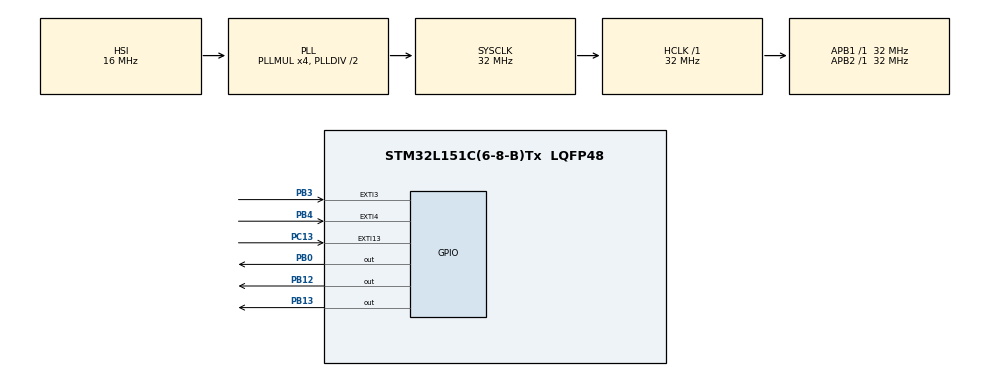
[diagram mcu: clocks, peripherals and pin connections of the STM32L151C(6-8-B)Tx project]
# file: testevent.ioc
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Mcu.Family=STM32L1
Mcu.Name=STM32L151C(6-8-B)Tx
Mcu.Package=LQFP48
NVIC.EXTI15_10_IRQn=true\:0\:0\:false\:false\:true\:true\:true\:true
NVIC.EXTI3_IRQn=true\:0\:0\:false\:false\:true\:true\:true\:true
NVIC.EXTI4_IRQn=true\:0\:0\:false\:false\:true\:true\:true\:true
NVIC.PriorityGroup=NVIC_PRIORITYGROUP_4
PA13.Mode=Serial_Wire
PA13.Signal=SYS_JTMS-SWDIO
PA14.Mode=Serial_Wire
PA14.Signal=SYS_JTCK-SWCLK
PB0.GPIO_PuPd=GPIO_NOPULL
PB0.GPIO_Speed=GPIO_SPEED_FREQ_LOW
PB0.Signal=GPIO_Output
PB12.GPIO_ModeDefaultOutputPP=GPIO_MODE_OUTPUT_OD
PB12.GPIO_PuPd=GPIO_PULLUP
PB12.Signal=GPIO_Output
PB13.GPIO_ModeDefaultOutputPP=GPIO_MODE_OUTPUT_OD
PB13.GPIO_PuPd=GPIO_PULLUP
PB13.PinState=GPIO_PIN_RESET
PB13.Signal=GPIO_Output
PB3.GPIO_ModeDefaultEXTI=GPIO_MODE_IT_FALLING
PB3.GPIO_PuPd=GPIO_PULLUP
PB3.Signal=GPXTI3
PB4.GPIO_ModeDefaultEXTI=GPIO_MODE_IT_FALLING
PB4.GPIO_PuPd=GPIO_PULLUP
PB4.Signal=GPXTI4
PC13-WKUP2.GPIO_ModeDefaultEXTI=GPIO_MODE_IT_FALLING
PC13-WKUP2.GPIO_PuPd=GPIO_PULLUP
PC13-WKUP2.Signal=GPXTI13
ProjectManager.HeapSize=0x200
ProjectManager.StackSize=0x400
ProjectManager.TargetToolchain=STM32CubeIDE
RCC.48MHZClocksFreq_Value=32000000
RCC.AHBFreq_Value=32000000
RCC.APB1Freq_Value=32000000
RCC.APB1TimFreq_Value=32000000
RCC.APB2Freq_Value=32000000
RCC.APB2TimFreq_Value=32000000
RCC.HCLKFreq_Value=32000000
RCC.HSE_VALUE=24000000
RCC.HSI_VALUE=16000000
RCC.LSE_VALUE=32768
RCC.MSI_VALUE=2097000
RCC.PLLMUL=RCC_PLL_MUL4
RCC.SYSCLKFreq_VALUE=32000000
RCC.SYSCLKSource=RCC_SYSCLKSOURCE_PLLCLK
RCC.VCOOutputFreq_Value=64000000
board=custom

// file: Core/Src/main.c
/* USER CODE BEGIN Header */
/**
  ******************************************************************************
  * @file           : main.c
  * @brief          : Main program body
  ******************************************************************************
  * @attention
  *
  * Copyright (c) 2025 STMicroelectronics.
  * All rights reserved.
  *
  * This software is licensed under terms that can be found in the LICENSE file
  * in the root directory of this software component.
  * If no LICENSE file comes with this software, it is provided AS-IS.
  *
  ******************************************************************************
  */
/* USER CODE END Header */
#include "main.h"

/* USER CODE BEGIN Includes */
#include "ssd1306.h"
#include "ssd1306_fonts.h"
#include "soft_i2c.h"
#include <stdlib.h>
#include <stdio.h>
#include <string.h>
#include <stdbool.h>
/* USER CODE END Includes */

/* USER CODE BEGIN PTD */
typedef enum {
    GAME_STATE_SPLASH,
    GAME_STATE_MENU,
    GAME_STATE_PLAYING,
    GAME_STATE_OVER
} GameState_t;

typedef enum {
    DIFFICULTY_EASY,
    DIFFICULTY_NORMAL,
    DIFFICULTY_HARD
} Difficulty_t;

typedef struct {
	int16_t x, y;
	int16_t w, h;
	int16_t frame;
    const uint8_t *bitmap;
    const uint8_t *mask;
} Entity_t;

/* USER CODE END PTD */

/* USER CODE BEGIN PD */
#define HI_SCORE_EASY_ADDR   0x0800FC00
#define HI_SCORE_NORMAL_ADDR 0x0800FC02
#define HI_SCORE_HARD_ADDR   0x0800FC04
#define DEBOUNCE_TIME 100
#define PLAYER_SAFE_ZONE_WIDTH 32
#define SPAWN_NEW_LIVE_MIN_CYCLES 800
#define DAY_NIGHT_SWITCH_CYCLES 1000
#define INCREASE_FPS_EVERY_N_SCORE_POINTS 200
#define LIVES_START 3
#define LIVES_MAX 5
#define TARGET_FPS_START 25
#define TARGET_FPS_MAX 55
#define GROUND_Y 57
#define SSD1306_WIDTH 128
#define SSD1306_HEIGHT 64

#define SCREEN_WIDTH        128
#define CACTUS_RESPAWN_MIN  (SCREEN_WIDTH + 10)
#define CACTUS_RESPAWN_MAX  (SCREEN_WIDTH + 80)
#define SAFE_DISTANCE_MIN   60
#define SAFE_DISTANCE_MAX   120
#define BUZZER_DURATION 100
/* USER CODE END PD */

/* USER CODE BEGIN PV */
volatile uint8_t g_jump_flag = 0;
volatile uint8_t g_reset_flag = 0;
volatile uint8_t g_quit_flag = 0;

volatile uint32_t g_last_jump_tick = 0;
volatile uint32_t g_last_reset_tick = 0;
volatile uint32_t g_last_quit_tick = 0;

// Biến game
Entity_t g_player;
Entity_t g_cactus1;
Entity_t g_cactus2;
Entity_t g_heart;
GameState_t g_gameState;
Difficulty_t g_difficulty = DIFFICULTY_NORMAL;
int g_menu_cursor = 1;
bool g_menu_dirty = true;
int g_scroll_speed = 11;
int g_score = 0;
int g_hi_scores[3] = {0, 0, 0};
int g_lives = LIVES_START;
int g_heart_spawn_score = 300;
bool g_game_over = false;
bool g_night = false;
int g_target_fps = TARGET_FPS_START;
volatile int g_is_jumping = 0;
volatile int g_jump_velocity = 0;
const int g_gravity = 3;
const int g_jump_initial_velocity = 11;
volatile int g_ground_scroll = 0;
uint32_t g_last_heart_spawn = 0;
uint32_t g_cycle_count = 0;
bool cactus1_collided = false;
bool cactus2_collided = false;

uint32_t lastGameTick = 0;

Entity_t g_player_last;
Entity_t g_cactus1_last;
Entity_t g_cactus2_last;
Entity_t g_heart_last;
bool g_night_last = false;

bool g_buzzer_active = false;
uint32_t g_buzzer_start_tick = 0;

const uint8_t trex_up_1s_bitmap[] = {
    0x00, 0x00, 0x00, 0x00,
    0x00, 0x07, 0xfe, 0x00,
    0x00, 0x06, 0xff, 0x00,
    0x00, 0x0e, 0xff, 0x00,
    0x00, 0x0f, 0xff, 0x00,
    0x00, 0x0f, 0xff, 0x00,
    0x00, 0x0f, 0xff, 0x00,
    0x00, 0x0f, 0xff, 0x00,
    0x00, 0x0f, 0xc0, 0x00,
    0x00, 0x0f, 0xfc, 0x00,
    0x40, 0x0f, 0xc0, 0x00,
    0x40, 0x1f, 0x80, 0x00,
    0x40, 0x7f, 0x80, 0x00,
    0x60, 0xff, 0xe0, 0x00,
    0x71, 0xff, 0xa0, 0x00,
    0x7f, 0xff, 0x80, 0x00,
    0x7f, 0xff, 0x80, 0x00,
    0x7f, 0xff, 0x80, 0x00,
    0x3f, 0xff, 0x00, 0x00,
    0x1f, 0xff, 0x00, 0x00,
    0x0f, 0xfe, 0x00, 0x00,
    0x03, 0xfc, 0x00, 0x00,
    0x01, 0xdc, 0x00, 0x00,
    0x01, 0x8c, 0x00, 0x00,
    0x01, 0x8c, 0x00, 0x00,
    0x01, 0x0c, 0x00, 0x00,
    0x01, 0x8e, 0x00, 0x00
};

const uint8_t trex_up_1s_mask[] = {
    0x00, 0x00, 0x00, 0x00,
    0x00, 0x07, 0xfe, 0x00,
    0x00, 0x07, 0xff, 0x00,
    0x00, 0x0f, 0xff, 0x00,
    0x00, 0x0f, 0xff, 0x00,
    0x00, 0x0f, 0xff, 0x00,
    0x00, 0x0f, 0xff, 0x00,
    0x00, 0x0f, 0xff, 0x00,
    0x00, 0x0f, 0xc0, 0x00,
    0x00, 0x0f, 0xfc, 0x00,
    0x40, 0x0f, 0xc0, 0x00,
    0x40, 0x1f, 0x80, 0x00,
    0x40, 0x7f, 0x80, 0x00,
    0x60, 0xff, 0xe0, 0x00,
    0x71, 0xff, 0xa0, 0x00,
    0x7f, 0xff, 0x80, 0x00,
    0x7f, 0xff, 0x80, 0x00,
    0x7f, 0xff, 0x80, 0x00,
    0x3f, 0xff, 0x00, 0x00,
    0x1f, 0xff, 0x00, 0x00,
    0x0f, 0xfe, 0x00, 0x00,
    0x03, 0xfc, 0x00, 0x00,
    0x01, 0xdc, 0x00, 0x00,
    0x01, 0x8c, 0x00, 0x00,
    0x01, 0x8c, 0x00, 0x00,
    0x01, 0x0c, 0x00, 0x00,
    0x01, 0x8e, 0x00, 0x00
};

const uint8_t trex_up_2s_bitmap[] = {
    0x00, 0x00, 0x00, 0x00,
    0x00, 0x07, 0xfe, 0x00,
    0x00, 0x06, 0xff, 0x00,
    0x00, 0x0e, 0xff, 0x00,
    0x00, 0x0f, 0xff, 0x00,
    0x00, 0x0f, 0xff, 0x00,
    0x00, 0x0f, 0xff, 0x00,
    0x00, 0x0f, 0xff, 0x00,
    0x00, 0x0f, 0xc0, 0x00,
    0x00, 0x0f, 0xfc, 0x00,
    0x40, 0x0f, 0xc0, 0x00,
    0x40, 0x1f, 0x80, 0x00,
    0x40, 0x7f, 0x80, 0x00,
    0x60, 0xff, 0xe0, 0x00,
    0x71, 0xff, 0xa0, 0x00,
    0x7f, 0xff, 0x80, 0x00,
    0x7f, 0xff, 0x80, 0x00,
    0x7f, 0xff, 0x80, 0x00,
    0x3f, 0xff, 0x00, 0x00,
    0x1f, 0xff, 0x00, 0x00,
    0x0f, 0xfe, 0x00, 0x00,
    0x03, 0xfc, 0x00, 0x00,
    0x01, 0xfc, 0x00, 0x00,
    0x01, 0x8c, 0x00, 0x00,
    0x01, 0x8c, 0x00, 0x00,
    0x01, 0x0e, 0x00, 0x00,
    0x01, 0x86, 0x00, 0x00
};

const uint8_t trex_up_2s_mask[] = {
    0x00, 0x00, 0x00, 0x00,
    0x00, 0x07, 0xfe, 0x00,
    0x00, 0x07, 0xff, 0x00,
    0x00, 0x0f, 0xff, 0x00,
    0x00, 0x0f, 0xff, 0x00,
    0x00, 0x0f, 0xff, 0x00,
    0x00, 0x0f, 0xff, 0x00,
    0x00, 0x0f, 0xff, 0x00,
    0x00, 0x0f, 0xc0, 0x00,
    0x00, 0x0f, 0xfc, 0x00,
    0x40, 0x0f, 0xc0, 0x00,
    0x40, 0x1f, 0x80, 0x00,
    0x40, 0x7f, 0x80, 0x00,
    0x60, 0xff, 0xe0, 0x00,
    0x71, 0xff, 0xa0, 0x00,
    0x7f, 0xff, 0x80, 0x00,
    0x7f, 0xff, 0x80, 0x00,
    0x7f, 0xff, 0x80, 0x00,
    0x3f, 0xff, 0x00, 0x00,
    0x1f, 0xff, 0x00, 0x00,
    0x0f, 0xfe, 0x00, 0x00,
    0x03, 0xfc, 0x00, 0x00,
    0x01, 0xfc, 0x00, 0x00,
    0x01, 0x8c, 0x00, 0x00,
    0x01, 0x8c, 0x00, 0x00,
    0x01, 0x0e, 0x00, 0x00,
    0x01, 0x86, 0x00, 0x00
};

const uint8_t trex_up_3s_bitmap[] = {
    0x00, 0x00, 0x00, 0x00,
    0x00, 0x07, 0xfe, 0x00,
    0x00, 0x06, 0xff, 0x00,
    0x00, 0x0e, 0xff, 0x00,
    0x00, 0x0f, 0xff, 0x00,
    0x00, 0x0f, 0xff, 0x00,
    0x00, 0x0f, 0xff, 0x00,
    0x00, 0x0f, 0xff, 0x00,
    0x00, 0x0f, 0xc0, 0x00,
    0x00, 0x0f, 0xfc, 0x00,
    0x40, 0x0f, 0xc0, 0x00,
    0x40, 0x1f, 0x80, 0x00,
    0x40, 0x7f, 0x80, 0x00,
    0x60, 0xff, 0xe0, 0x00,
    0x71, 0xff, 0xa0, 0x00,
    0x7f, 0xff, 0x80, 0x00,
    0x7f, 0xff, 0x80, 0x00,
    0x7f, 0xff, 0x80, 0x00,
    0x3f, 0xff, 0x00, 0x00,
    0x1f, 0xff, 0x00, 0x00,
    0x0f, 0xfe, 0x00, 0x00,
    0x03, 0xfc, 0x00, 0x00,
    0x01, 0xdc, 0x00, 0x00,
    0x01, 0x8c, 0x00, 0x00,
    0x01, 0x8c, 0x00, 0x00,
    0x01, 0x06, 0x00, 0x00,
    0x01, 0x83, 0x00, 0x00
};

const uint8_t trex_up_3s_mask[] = {
    0x00, 0x00, 0x00, 0x00,
    0x00, 0x07, 0xfe, 0x00,
    0x00, 0x07, 0xff, 0x00,
    0x00, 0x0f, 0xff, 0x00,
    0x00, 0x0f, 0xff, 0x00,
    0x00, 0x0f, 0xff, 0x00,
    0x00, 0x0f, 0xff, 0x00,
    0x00, 0x0f, 0xff, 0x00,
    0x00, 0x0f, 0xc0, 0x00,
    0x00, 0x0f, 0xfc, 0x00,
    0x40, 0x0f, 0xc0, 0x00,
    0x40, 0x1f, 0x80, 0x00,
    0x40, 0x7f, 0x80, 0x00,
    0x60, 0xff, 0xe0, 0x00,
    0x71, 0xff, 0xa0, 0x00,
    0x7f, 0xff, 0x80, 0x00,
    0x7f, 0xff, 0x80, 0x00,
    0x7f, 0xff, 0x80, 0x00,
    0x3f, 0xff, 0x00, 0x00,
    0x1f, 0xff, 0x00, 0x00,
    0x0f, 0xfe, 0x00, 0x00,
    0x03, 0xfc, 0x00, 0x00,
    0x01, 0xdc, 0x00, 0x00,
    0x01, 0x8c, 0x00, 0x00,
    0x01, 0x8c, 0x00, 0x00,
    0x01, 0x06, 0x00, 0x00,
    0x01, 0x83, 0x00, 0x00
};

const uint8_t cacti_big_big_bitmap[] = {

0x00, 0x00, 0x00, 0x00, 0x7B, 0x7B, 0xDB, 0xE0, 0x77, 0xBB, 0xBD, 0xE0, 0x77, 0xBE, 0xBD, 0xE0,
0x77, 0xBD, 0x3D, 0xE0, 0x77, 0xAB, 0xBD, 0x60, 0x57, 0x93, 0xBC, 0xA0, 0x27, 0xBB, 0xBD, 0xC0,
0x77, 0xBB, 0xBD, 0xC0, 0x77, 0xBB, 0xBD, 0xC0, 0x77, 0xBB, 0xBD, 0xC0, 0x77, 0xBB, 0xFD, 0xC0,
0x77, 0xB9, 0xFD, 0xC0, 0x77, 0xBA, 0xFF, 0xC0, 0x7F, 0xF7, 0x3F, 0xA0, 0x3F, 0xE8, 0x3F, 0x60,
0x5F, 0x98, 0x3C, 0xE0, 0x67, 0xB8, 0x3D, 0xE0, 0x77, 0xBB, 0xBD, 0xE0, 0x77, 0xBB, 0xBD, 0xE0,
0x77, 0xBB, 0xBC, 0x00, 0x77, 0xBB, 0xBC, 0x00, 0x47, 0x8A, 0x3C, 0x00, 0x5F, 0xAA, 0xFC, 0x60,
0x40, 0x0A, 0x01, 0x60, 0x01, 0x00, 0x40, 0x00,
};

const uint8_t cacti_big_big_mask[] = {

0x03, 0x00, 0x18, 0x00, 0x07, 0x80, 0x3C, 0x00, 0x0F, 0xC0, 0x7E, 0x00, 0x0F, 0xC1, 0x7E, 0x00,
0x0F, 0xC3, 0xFE, 0x00, 0x0F, 0xD7, 0xFE, 0x80, 0x2F, 0xFF, 0xFF, 0xC0, 0x7F, 0xFF, 0xFF, 0xE0,
0xFF, 0xFF, 0xFF, 0xE0, 0xFF, 0xFF, 0xFF, 0xE0, 0xFF, 0xFF, 0xFF, 0xE0, 0xFF, 0xFF, 0xFF, 0xE0,
0xFF, 0xFF, 0xFF, 0xE0, 0xFF, 0xFD, 0xFF, 0xE0, 0xFF, 0xF8, 0xFF, 0xC0, 0x7F, 0xF0, 0x7F, 0x80,
0x3F, 0xE0, 0x7F, 0x00, 0x1F, 0xC0, 0x7E, 0x00, 0x0F, 0xC0, 0x7E, 0x00, 0x0F, 0xC0, 0x7E, 0x00,
0x0F, 0xC0, 0x7E, 0x00, 0x0F, 0xC0, 0x7E, 0x00, 0x3F, 0xF1, 0xFE, 0x00, 0x3F, 0xF1, 0xFF, 0x80,
0x3F, 0xF1, 0xFF, 0x80, 0xFF, 0xFF, 0xFF, 0xE0,
};

const uint8_t cacti_small_big_bitmap[] = {
0x00, 0x00, 0x00, 0x00, 0x00, 0x00, 0x00, 0x00, 0x00, 0x00, 0x00, 0x00, 0x00, 0x00, 0x00, 0x00,
0x00, 0x00, 0x00, 0x00, 0x00, 0x00, 0x00, 0x00, 0x00, 0x00, 0x00, 0x00, 0x68, 0x75, 0xD6, 0xE0,
0x6C, 0xCE, 0xA6, 0x60, 0x6D, 0x2E, 0xB6, 0xA0, 0x4D, 0xAE, 0x36, 0xC0, 0x2D, 0xAE, 0xB6, 0xC0,
0x6D, 0xAE, 0xB6, 0xC0, 0x6D, 0xAE, 0xB6, 0xC0, 0x6D, 0xAE, 0xB6, 0xC0, 0x6F, 0x2E, 0x9E, 0xC0,
0x6C, 0xAE, 0xA7, 0xA0, 0x3D, 0xBE, 0xB6, 0x60, 0x4D, 0xDF, 0xB6, 0xE0, 0x6D, 0xEF, 0x76, 0xE0,
0x6D, 0xEE, 0xF6, 0xE0, 0x6D, 0xEE, 0xF6, 0xE0, 0x6D, 0xEE, 0xF6, 0xE0, 0x6D, 0x8E, 0x16, 0x00,
0x60, 0x20, 0x50, 0x40, 0x01, 0x00, 0x02, 0x00,
};

const uint8_t cacti_small_big_mask[] = {
0x00, 0x00, 0x00, 0x00, 0x00, 0x00, 0x00, 0x00, 0x00, 0x00, 0x00, 0x00, 0x00, 0x00, 0x00, 0x00,
0x00, 0x00, 0x00, 0x00, 0x00, 0x00, 0x00, 0x00, 0x08, 0x00, 0x06, 0x00, 0x1C, 0x0E, 0x2F, 0x00,
0x1F, 0x3F, 0x7F, 0x80, 0x1F, 0xFF, 0x7F, 0xC0, 0x3F, 0xFF, 0xFF, 0xE0, 0x7F, 0xFF, 0xFF, 0xE0,
0xFF, 0xFF, 0xFF, 0xE0, 0xFF, 0xFF, 0xFF, 0xE0, 0xFF, 0xFF, 0xFF, 0xE0, 0xFF, 0xFF, 0xFF, 0xE0,
0xFF, 0x7F, 0xDF, 0xC0, 0x7E, 0x7F, 0xCF, 0x80, 0x3E, 0x3F, 0xCF, 0x00, 0x1E, 0x1F, 0x8F, 0x00,
0x1E, 0x1F, 0x0F, 0x00, 0x1E, 0x1F, 0x0F, 0x00, 0x1E, 0x1F, 0x0F, 0x00, 0x1E, 0x7F, 0xEF, 0xE0,
0x1F, 0xFF, 0xEF, 0xE0, 0xFF, 0xFF, 0xFF, 0xE0,
};

const uint8_t heart_bitmap[] = {
    0x00, 0x66, 0xff, 0xff, 0x7e, 0x3c, 0x18, 0x00
};

/* USER CODE END PV */

void SystemClock_Config(void);
static void MX_GPIO_Init(void);
/* USER CODE BEGIN PFP */
void handle_jump_press(void);
void handle_reset_press(void);
void update_game_logic(void);
void render_game(void);
void ssd1306_DrawBitmap_Masked(int16_t x, int16_t y, const uint8_t *bitmap, const uint8_t *mask, uint8_t w, uint8_t h, SSD1306_COLOR color);
bool Check_Collision(int x1, int y1, int w1, int h1, int x2, int y2, int w2, int h2);
void Render_Ground(int y);
void Render_Number(int x, int y, int number);
void Render_Heart(int x, int y, int lives);
void Save_Hi_Score(void);
void ssd1306_Line_Buffered(uint8_t x1, uint8_t y1, uint8_t x2, uint8_t y2, SSD1306_COLOR color);
void ssd1306_DrawBitmap_Buffered(int16_t x, int16_t y, const uint8_t *bitmap, uint8_t w, uint8_t h, SSD1306_COLOR color);
void ssd1306_FillRectangle_Buffered(int16_t x, int16_t y, uint8_t w, uint8_t h, SSD1306_COLOR color);
void Render_Menu(void);
void Handle_Buzzer_NonBlocking(void);
/* USER CODE END PFP */

int main(void)
{

  /* MCU Configuration--------------------------------------------------------*/

  /* Reset of all peripherals, Initializes the Flash interface and the Systick. */
  HAL_Init();

  /* Configure the system clock */
  SystemClock_Config();

  /* Initialize all configured peripherals */
  MX_GPIO_Init();
  /* USER CODE BEGIN 2 */
  ssd1306_Init();
  HAL_GPIO_WritePin(GPIOB, GPIO_PIN_0, GPIO_PIN_RESET);
  // Khởi tạo trạng thái và đối tượng
  g_gameState = GAME_STATE_SPLASH;
  g_player.x = 10;
  g_player.y = 30;
  g_player.w = 28;
  g_player.h = 27;
  g_player.frame = 0;
  g_player.bitmap = trex_up_1s_bitmap;
  g_player.mask = trex_up_1s_mask;
  const int fixed_gap = (int)(3.5f * 32);
    if (rand() % 2) {
        g_cactus1.bitmap = cacti_big_big_bitmap;
        g_cactus1.mask = cacti_big_big_mask;
    } else {
        g_cactus1.bitmap = cacti_small_big_bitmap;
        g_cactus1.mask = cacti_small_big_mask;
    }
    g_cactus1.y = GROUND_Y - 24;
    g_cactus1.w = 32;
    g_cactus1.h = 26;
    if (rand() % 2) {
        g_cactus2.bitmap = cacti_big_big_bitmap;
        g_cactus2.mask = cacti_big_big_mask;
    } else {
        g_cactus2.bitmap = cacti_small_big_bitmap;
        g_cactus2.mask = cacti_small_big_mask;
    }
    g_cactus2.y = GROUND_Y - 24;
    g_cactus2.w = 32;
    g_cactus2.h = 26;

    if (rand() % 2) {
        g_cactus1.x = 128;
        g_cactus2.x = g_cactus1.x + g_cactus1.w + fixed_gap;
    } else {
        g_cactus2.x = 128;
        g_cactus1.x = g_cactus2.x + g_cactus2.w + fixed_gap;
    }

  g_heart.x = 255;
  g_heart.y = 20;
  g_heart.w = 8;
  g_heart.h = 8;
  g_heart.bitmap = heart_bitmap;
  g_heart.mask = NULL;

  g_score = 0;
  g_hi_scores[DIFFICULTY_EASY]   = *(__IO uint16_t*)HI_SCORE_EASY_ADDR;
  g_hi_scores[DIFFICULTY_NORMAL] = *(__IO uint16_t*)HI_SCORE_NORMAL_ADDR;
  g_hi_scores[DIFFICULTY_HARD]   = *(__IO uint16_t*)HI_SCORE_HARD_ADDR;

  if (g_hi_scores[DIFFICULTY_EASY] == 0xFFFF) g_hi_scores[DIFFICULTY_EASY] = 0;
  if (g_hi_scores[DIFFICULTY_NORMAL] == 0xFFFF) g_hi_scores[DIFFICULTY_NORMAL] = 0;
  if (g_hi_scores[DIFFICULTY_HARD] == 0xFFFF) g_hi_scores[DIFFICULTY_HARD] = 0;
  lastGameTick = 0;

  g_player_last = g_player;
  g_cactus1_last = g_cactus1;
  g_cactus2_last = g_cactus2;
  g_heart_last = g_heart;
  g_night_last = g_night;

  ssd1306_Fill(Black);
  //render_game();
  ssd1306_UpdateScreen();
  /* USER CODE END 2 */

  /* Infinite loop */
  while (1)
  {

    /* USER CODE BEGIN 3 */
	  Handle_Buzzer_NonBlocking();
	  if (g_jump_flag == 1) {
	            g_jump_flag = 0;
	            if (g_gameState == GAME_STATE_PLAYING) {
	                handle_jump_press();
	            } else if (g_gameState == GAME_STATE_MENU) {
	                g_menu_cursor = (g_menu_cursor + 1) % 3;
	                g_menu_dirty = true;
	            }
	        }

	        if (g_reset_flag == 1) {
	            g_reset_flag = 0;
	            if (g_gameState == GAME_STATE_OVER) {
	                g_gameState = GAME_STATE_MENU;
	                g_menu_dirty = true;
	            } else if (g_gameState == GAME_STATE_MENU) {
	                g_menu_cursor--;
	                if (g_menu_cursor < 0) {
	                    g_menu_cursor = 2;
	                }
	                g_menu_dirty = true;
	            }
	        }
	        if (g_quit_flag == 1) {
	        	g_quit_flag = 0;
	        	if (g_gameState == GAME_STATE_PLAYING) {
	        	g_gameState = GAME_STATE_MENU;
	        	g_menu_dirty = true;
	        	if (g_score > g_hi_scores[g_difficulty]) {
	        		g_hi_scores[g_difficulty] = g_score;
	        	    Save_Hi_Score();
	        	}
	       }else if (g_gameState == GAME_STATE_MENU) {
	                g_difficulty = (Difficulty_t)g_menu_cursor;
	                handle_reset_press();
	            }
	        }
	        switch (g_gameState) {
	            case GAME_STATE_SPLASH:
	                ssd1306_Fill(Black);
	                ssd1306_SetCursor(30, 25);
	                ssd1306_WriteString("T-REX GAME", Font_7x10, White);
	                ssd1306_UpdateScreen();
	                HAL_Delay(2000);
	                g_gameState = GAME_STATE_MENU;
	                g_menu_dirty = true;
	                break;

	            case GAME_STATE_MENU:
	                if (g_menu_dirty) {
	                    Render_Menu();
	                    g_menu_dirty = false;
	                }
	                break;

	            case GAME_STATE_PLAYING:
	                if (HAL_GetTick() - lastGameTick > (1000 / g_target_fps)) {
	                    lastGameTick = HAL_GetTick();

	                    update_game_logic();
	                    render_game();
	                    ssd1306_UpdateScreen();

	                    g_player_last = g_player;
	                    g_cactus1_last = g_cactus1;
	                    g_cactus2_last = g_cactus2;
	                    g_heart_last = g_heart;
	                }
	                break;

	            case GAME_STATE_OVER:
	                if (g_game_over) {
	                    render_game();
	                    g_game_over = false;
	                }
	                break;
	        }
  }
  /* USER CODE END 3 */
}

void SystemClock_Config(void)
{
  RCC_OscInitTypeDef RCC_OscInitStruct = {0};
  RCC_ClkInitTypeDef RCC_ClkInitStruct = {0};

  /** Configure the main internal regulator output voltage
  */
  __HAL_PWR_VOLTAGESCALING_CONFIG(PWR_REGULATOR_VOLTAGE_SCALE1);

  /** Initializes the RCC Oscillators according to the specified parameters
  * in the RCC_OscInitTypeDef structure.
  */
  RCC_OscInitStruct.OscillatorType = RCC_OSCILLATORTYPE_HSI;
  RCC_OscInitStruct.HSIState = RCC_HSI_ON;
  RCC_OscInitStruct.HSICalibrationValue = RCC_HSICALIBRATION_DEFAULT;
  RCC_OscInitStruct.PLL.PLLState = RCC_PLL_ON;
  RCC_OscInitStruct.PLL.PLLSource = RCC_PLLSOURCE_HSI;
  RCC_OscInitStruct.PLL.PLLMUL = RCC_PLL_MUL4;
  RCC_OscInitStruct.PLL.PLLDIV = RCC_PLL_DIV2;
  if (HAL_RCC_OscConfig(&RCC_OscInitStruct) != HAL_OK)
  {
    Error_Handler();
  }

  /** Initializes the CPU, AHB and APB buses clocks
  */
  RCC_ClkInitStruct.ClockType = RCC_CLOCKTYPE_HCLK|RCC_CLOCKTYPE_SYSCLK
                              |RCC_CLOCKTYPE_PCLK1|RCC_CLOCKTYPE_PCLK2;
  RCC_ClkInitStruct.SYSCLKSource = RCC_SYSCLKSOURCE_PLLCLK;
  RCC_ClkInitStruct.AHBCLKDivider = RCC_SYSCLK_DIV1;
  RCC_ClkInitStruct.APB1CLKDivider = RCC_HCLK_DIV1;
  RCC_ClkInitStruct.APB2CLKDivider = RCC_HCLK_DIV1;

  if (HAL_RCC_ClockConfig(&RCC_ClkInitStruct, FLASH_LATENCY_1) != HAL_OK)
  {
    Error_Handler();
  }
}

static void MX_GPIO_Init(void)
{
  GPIO_InitTypeDef GPIO_InitStruct = {0};

  /* GPIO Ports Clock Enable */
  __HAL_RCC_GPIOC_CLK_ENABLE();
  __HAL_RCC_GPIOB_CLK_ENABLE();
  __HAL_RCC_GPIOA_CLK_ENABLE();

  /*Configure GPIO pin Output Level */
  HAL_GPIO_WritePin(GPIOB, GPIO_PIN_0|GPIO_PIN_12|GPIO_PIN_13, GPIO_PIN_RESET);

  /*Configure GPIO pin : PC13 */
  GPIO_InitStruct.Pin = GPIO_PIN_13;
  GPIO_InitStruct.Mode = GPIO_MODE_IT_FALLING;
  GPIO_InitStruct.Pull = GPIO_PULLUP;
  HAL_GPIO_Init(GPIOC, &GPIO_InitStruct);

  /*Configure GPIO pin : PB0 */
  GPIO_InitStruct.Pin = GPIO_PIN_0;
  GPIO_InitStruct.Mode = GPIO_MODE_OUTPUT_PP;
  GPIO_InitStruct.Pull = GPIO_NOPULL;
  GPIO_InitStruct.Speed = GPIO_SPEED_FREQ_LOW;
  HAL_GPIO_Init(GPIOB, &GPIO_InitStruct);

  /*Configure GPIO pins : PB12 PB13 */
  GPIO_InitStruct.Pin = GPIO_PIN_12|GPIO_PIN_13;
  GPIO_InitStruct.Mode = GPIO_MODE_OUTPUT_OD;
  GPIO_InitStruct.Pull = GPIO_PULLUP;
  GPIO_InitStruct.Speed = GPIO_SPEED_FREQ_LOW;
  HAL_GPIO_Init(GPIOB, &GPIO_InitStruct);

  /*Configure GPIO pins : PB3 PB4 */
  GPIO_InitStruct.Pin = GPIO_PIN_3|GPIO_PIN_4;
  GPIO_InitStruct.Mode = GPIO_MODE_IT_FALLING;
  GPIO_InitStruct.Pull = GPIO_PULLUP;
  HAL_GPIO_Init(GPIOB, &GPIO_InitStruct);

  /* EXTI interrupt init*/
  HAL_NVIC_SetPriority(EXTI3_IRQn, 0, 0);
  HAL_NVIC_EnableIRQ(EXTI3_IRQn);

  HAL_NVIC_SetPriority(EXTI4_IRQn, 0, 0);
  HAL_NVIC_EnableIRQ(EXTI4_IRQn);

  HAL_NVIC_SetPriority(EXTI15_10_IRQn, 0, 0);
  HAL_NVIC_EnableIRQ(EXTI15_10_IRQn);

}

/* USER CODE BEGIN 4 */

void ssd1306_Line_Buffered(uint8_t x1, uint8_t y1, uint8_t x2, uint8_t y2, SSD1306_COLOR color) {
    if (y1 == y2) {
        uint8_t start_x = (x1 < x2) ? x1 : x2;
        uint8_t end_x = (x1 > x2) ? x1 : x2;
        if (start_x >= SSD1306_WIDTH || end_x < 0 || y1 >= SSD1306_HEIGHT) {
            return;
        }
        if (start_x < 0) start_x = 0;
        if (end_x >= SSD1306_WIDTH) end_x = SSD1306_WIDTH - 1;
        for (uint8_t x = start_x; x <= end_x; x++) {
            ssd1306_DrawPixel(x, y1, color);
        }
    }
}

void ssd1306_DrawBitmap_Buffered(int16_t x, int16_t y, const uint8_t *bitmap, uint8_t w, uint8_t h, SSD1306_COLOR color) {
    uint16_t byteWidth = (w + 7) / 8;
    uint8_t byteB;

    for (uint8_t j = 0; j < h; j++) {
        for (uint8_t i = 0; i < w; i++) {

            int16_t pixel_x = x + i;
            int16_t pixel_y = y + j;
            if (pixel_x < 0 || pixel_x >= SSD1306_WIDTH || pixel_y < 0 || pixel_y >= SSD1306_HEIGHT) {
                continue;
            }
            if (i % 8 == 0) {
                byteB = bitmap[j * byteWidth + i / 8];
            } else {
                byteB <<= 1;
            }
            if (byteB & 0x80) {
                ssd1306_DrawPixel((uint8_t)pixel_x, (uint8_t)pixel_y, color);
            }
        }
    }
}

void ssd1306_FillRectangle_Buffered(int16_t x, int16_t y, uint8_t w, uint8_t h, SSD1306_COLOR color) {

    if (x >= SSD1306_WIDTH || (x + (int16_t)w) <= 0) return;
    int16_t x_start = x;
    int16_t x_end = x + w;
    if (x_start < 0) x_start = 0;
    if (x_end > SSD1306_WIDTH) x_end = SSD1306_WIDTH;

    if (y >= SSD1306_HEIGHT || (y + (int16_t)h) <= 0) return;
    int16_t y_start = y;
    int16_t y_end = y + h;
    if (y_start < 0) y_start = 0;
    if (y_end > SSD1306_HEIGHT) y_end = SSD1306_HEIGHT;

    for (int16_t j = y_start; j < y_end; j++) {
        for (int16_t i = x_start; i < x_end; i++) {
            ssd1306_DrawPixel((uint8_t)i, (uint8_t)j, color);
        }
    }
}

void HAL_GPIO_EXTI_Callback(uint16_t GPIO_Pin)
{
    if (GPIO_Pin == GPIO_PIN_3)
    {
        if (HAL_GetTick() - g_last_jump_tick > DEBOUNCE_TIME)
        {
            g_last_jump_tick = HAL_GetTick();
            g_jump_flag = 1;
        }
    }
    if (GPIO_Pin == GPIO_PIN_13)
    {
        if (HAL_GetTick() - g_last_reset_tick > DEBOUNCE_TIME)
        {
            g_last_reset_tick = HAL_GetTick();
            g_reset_flag = 1;
        }
    }
    if (GPIO_Pin == GPIO_PIN_4) // << THÊM KH�?I IF NÀY
    {
        if (HAL_GetTick() - g_last_quit_tick > DEBOUNCE_TIME)
        {
            g_last_quit_tick = HAL_GetTick();
            g_quit_flag = 1; // �?ặt c�? cho nút PB4
        }
    }
}

void Handle_Buzzer_NonBlocking(void) {
    if (g_buzzer_active) {
        if (HAL_GetTick() - g_buzzer_start_tick >= BUZZER_DURATION) {
            HAL_GPIO_WritePin(GPIOB, GPIO_PIN_0, GPIO_PIN_RESET);
            g_buzzer_active = false;
        }
    }
}

void handle_jump_press() {
    if (g_is_jumping == 0) {
        g_is_jumping = 1;
        g_jump_velocity = g_jump_initial_velocity;
    }
}

void handle_reset_press() {
    switch (g_difficulty) {
        case DIFFICULTY_EASY:
            g_target_fps = 20;
            g_scroll_speed = 8;
            g_lives = 3;
            g_heart_spawn_score = 100;
            break;
        case DIFFICULTY_NORMAL:
            g_target_fps = TARGET_FPS_START;
            g_scroll_speed = 11;
            g_lives = 2;
            g_heart_spawn_score = 300;
            break;
        case DIFFICULTY_HARD:
            g_target_fps = 35;
            g_scroll_speed = 14;
            g_lives = 1;
            g_heart_spawn_score = 500;
            break;
    }
    g_gameState = GAME_STATE_PLAYING;
    g_player.x = 10;
    g_player.y = 30;
    g_is_jumping = 0;
    g_jump_velocity = 0;

    const int fixed_gap = (int)(3.5f * 32);
    int start_delay_pixels = (g_scroll_speed * g_target_fps) / 5;

    if (rand() % 2) {
       g_cactus1.x = 128 + start_delay_pixels;
       g_cactus2.x = g_cactus1.x + g_cactus1.w + fixed_gap;
    } else {
       g_cactus2.x = 128 + start_delay_pixels;
       g_cactus1.x = g_cactus2.x + g_cactus2.w + fixed_gap;
        }

    g_heart.x = 255;
    g_score = 0;
    g_game_over = false;
    g_night = false;
    ssd1306_WriteCommand(0xA6);
    cactus1_collided = false;
    cactus2_collided = false;
    ssd1306_Fill(Black);
    g_player_last = g_player;
    g_cactus1_last = g_cactus1;
    g_cactus2_last = g_cactus2;
    g_heart_last = g_heart;
    g_night_last = g_night;
}

void update_game_logic(void) {
    static int last_fps_increase_score = 0;

    const int fixed_gap = (int)(3.5f * 32);

    if (g_is_jumping) {
        g_player.y -= g_jump_velocity;
        g_jump_velocity -= g_gravity;
        if (g_player.y >= 30) {
            g_player.y = 30;
            g_is_jumping = 0;
            g_jump_velocity = 0;
        }
    }
    g_player.frame = (g_player.frame + 1) % 3;
    switch (g_player.frame) {
        case 0: g_player.bitmap = trex_up_1s_bitmap; g_player.mask = trex_up_1s_mask; break;
        case 1: g_player.bitmap = trex_up_2s_bitmap; g_player.mask = trex_up_2s_mask; break;
        case 2: g_player.bitmap = trex_up_3s_bitmap; g_player.mask = trex_up_3s_mask; break;
    }
    g_cactus1.x -= g_scroll_speed;
    g_cactus2.x -= g_scroll_speed;

    if (g_cactus1.x + g_cactus1.w < 0) {
        g_cactus1.x = g_cactus2.x + g_cactus2.w + fixed_gap;
        cactus1_collided = false;

        if (rand() % 2) {
            g_cactus1.bitmap = cacti_big_big_bitmap;
            g_cactus1.mask = cacti_big_big_mask;
            g_cactus1.w =  32;
            g_cactus1.h =  26;
        } else {
            g_cactus1.bitmap = cacti_small_big_bitmap;
            g_cactus1.mask = cacti_small_big_mask;
            g_cactus1.w = 32;
            g_cactus1.h = 26;
        }
    }

    if (g_cactus2.x + g_cactus2.w < 0) {
        g_cactus2.x = g_cactus1.x + g_cactus1.w + fixed_gap;
        cactus2_collided = false;

        if (rand() % 2) {
            g_cactus2.bitmap = cacti_big_big_bitmap;
            g_cactus2.mask = cacti_big_big_mask;
            g_cactus2.w = 32;
            g_cactus2.h = 26;
        } else {
            g_cactus2.bitmap = cacti_small_big_bitmap;
            g_cactus2.mask = cacti_small_big_mask;
            g_cactus2.w = 32;
            g_cactus2.h = 26;
        }
    }

    if (g_heart.x < 255) {
        g_heart.x -= g_scroll_speed;;
        if (Check_Collision(g_player.x, g_player.y, g_player.w, g_player.h,
                            g_heart.x, g_heart.y, g_heart.w, g_heart.h)) {
            g_lives = (g_lives + 1 > LIVES_MAX) ? LIVES_MAX : g_lives + 1;
            g_heart.x = 255;
        }
        if (g_heart.x + g_heart.w < 0) g_heart.x = 255;
    }

    int head_x = g_player.x + 6;
    int head_y = g_player.y;
    int head_w = (g_player.w > 12) ? (g_player.w - 12) : (g_player.w / 2);
    int head_h = g_player.h / 3;

    int c1_x = g_cactus1.x + 4;
    int c1_y = g_cactus1.y;
    int c1_w = (g_cactus1.w > 8) ? (g_cactus1.w - 8) : g_cactus1.w;
    int c1_h = (g_cactus1.h * 7) / 10;

    int c2_x = g_cactus2.x + 4;
    int c2_y = g_cactus2.y;
    int c2_w = (g_cactus2.w > 8) ? (g_cactus2.w - 8) : g_cactus2.w;
    int c2_h = (g_cactus2.h * 7) / 10;

    bool hit_cactus1 = Check_Collision(head_x, head_y, head_w, head_h, c1_x, c1_y, c1_w, c1_h);
    bool hit_cactus2 = Check_Collision(head_x, head_y, head_w, head_h, c2_x, c2_y, c2_w, c2_h);

    if (hit_cactus1 && !cactus1_collided) {
       g_lives--;
       cactus1_collided = true;
       if (!g_buzzer_active) {
    	   HAL_GPIO_WritePin(GPIOB, GPIO_PIN_0, GPIO_PIN_SET);
    	   g_buzzer_active = true;
    	   g_buzzer_start_tick = HAL_GetTick();
       }else if (!hit_cactus1 && (g_cactus1.x + g_cactus1.w) < g_player.x) {
    	   cactus1_collided = false;
       }
    }
    if (hit_cactus2 && !cactus2_collided) {
      g_lives--;
      cactus2_collided = true;
      if (!g_buzzer_active) {
    	HAL_GPIO_WritePin(GPIOB, GPIO_PIN_0, GPIO_PIN_SET);
      	  g_buzzer_active = true;
      	  g_buzzer_start_tick = HAL_GetTick();
      } else if (!hit_cactus2 && (g_cactus2.x + g_cactus2.w) < g_player.x) {
    	  cactus2_collided = false;
      }
    }
    if (g_lives <= 0) {
      g_game_over = true;
      g_gameState = GAME_STATE_OVER;

      HAL_GPIO_WritePin(GPIOB, GPIO_PIN_0, GPIO_PIN_SET);
      HAL_Delay(100);
      HAL_GPIO_WritePin(GPIOB, GPIO_PIN_0, GPIO_PIN_RESET);
      HAL_Delay(100);

      HAL_GPIO_WritePin(GPIOB, GPIO_PIN_0, GPIO_PIN_SET);
      HAL_Delay(100);
      HAL_GPIO_WritePin(GPIOB, GPIO_PIN_0, GPIO_PIN_RESET);
      HAL_Delay(100);

      HAL_GPIO_WritePin(GPIOB, GPIO_PIN_0, GPIO_PIN_SET);
      HAL_Delay(1000);
      HAL_GPIO_WritePin(GPIOB, GPIO_PIN_0, GPIO_PIN_RESET);
    }

    g_score++;

    if ((g_score % g_heart_spawn_score == 0) && (g_score > 0) && (g_lives < LIVES_MAX) && (g_heart.x == 255)) {

        g_heart.x = SCREEN_WIDTH + 10 + (rand() % 50);
    }

    if (g_score > g_hi_scores[g_difficulty]) g_hi_scores[g_difficulty] = g_score;

    if ((g_score - last_fps_increase_score) >= INCREASE_FPS_EVERY_N_SCORE_POINTS && g_target_fps < TARGET_FPS_MAX) {
        g_target_fps++;
        last_fps_increase_score = g_score;
    }
}

/* USER CODE BEGIN 4 */

void Render_Menu(void) {
    ssd1306_Fill(Black);
    ssd1306_SetCursor(35, 5);
    ssd1306_WriteString("MAIN MENU", Font_7x10, White);
    int easy_y = 20;
    int normal_y = 30;
    int hard_y = 40;
    int easy_x = 53;
    int normal_x = 47;
    int hard_x = 53;
    int easy_w = 4 * 7;
    int normal_w = 6 * 7;
    int hard_w = 4 * 7;
    int rect_h = 10;
    ssd1306_SetCursor(easy_x, easy_y);
    ssd1306_WriteString("EASY", Font_7x10, White);
    ssd1306_SetCursor(normal_x, normal_y);
    ssd1306_WriteString("NORMAL", Font_7x10, White);
    ssd1306_SetCursor(hard_x, hard_y);
    ssd1306_WriteString("HARD", Font_7x10, White);
    int rect_x, rect_y, rect_w;
    if (g_menu_cursor == 0){
        rect_x = easy_x;
        rect_y = easy_y;
        rect_w = easy_w;
    } else if (g_menu_cursor == 1){
        rect_x = normal_x;
        rect_y = normal_y;
        rect_w = normal_w;
    } else {
        rect_x = hard_x;
        rect_y = hard_y;
        rect_w = hard_w;
    }
    int padding = 3;
    rect_x -= padding;
    rect_w += (padding * 2);
    if (rect_x < 0) rect_x = 0;
    if (rect_x + rect_w > SSD1306_WIDTH) rect_w = SSD1306_WIDTH - rect_x;
    ssd1306_FillRectangle_Buffered(rect_x, rect_y, rect_w, rect_h, White);
    if (g_menu_cursor == 0) {
        ssd1306_SetCursor(easy_x, easy_y);
        ssd1306_WriteString("EASY", Font_7x10, Black);
    } else if (g_menu_cursor == 1) {
        ssd1306_SetCursor(normal_x, normal_y);
        ssd1306_WriteString("NORMAL", Font_7x10, Black);
    } else {
        ssd1306_SetCursor(hard_x, hard_y);
        ssd1306_WriteString("HARD", Font_7x10, Black);
    }
    ssd1306_UpdateScreen();
}

void render_game() {

    if (g_gameState == GAME_STATE_PLAYING) {

    	ssd1306_FillRectangle_Buffered(g_player_last.x, g_player_last.y, g_player_last.w, g_player_last.h, Black);
    	ssd1306_FillRectangle_Buffered(g_cactus1_last.x, g_cactus1_last.y, g_cactus1_last.w, g_cactus1_last.h, Black);
    	ssd1306_FillRectangle_Buffered(g_cactus2_last.x, g_cactus2_last.y, g_cactus2_last.w, g_cactus2_last.h, Black);
    	if (g_heart_last.x < 255) {
    	  ssd1306_FillRectangle_Buffered(g_heart_last.x, g_heart_last.y, g_heart_last.w, g_heart_last.h, Black);
    	}

        ssd1306_DrawBitmap_Masked(g_player.x, g_player.y, g_player.bitmap, g_player.mask, g_player.w, g_player.h, White);

        ssd1306_DrawBitmap_Masked(g_cactus1.x, g_cactus1.y, g_cactus1.bitmap, g_cactus1.mask, g_cactus1.w, g_cactus1.h, White);
        ssd1306_DrawBitmap_Masked(g_cactus2.x, g_cactus2.y, g_cactus2.bitmap, g_cactus2.mask, g_cactus2.w, g_cactus2.h, White);

        if (g_heart.x < 255) {
            ssd1306_DrawBitmap_Buffered(g_heart.x, g_heart.y, g_heart.bitmap, g_heart.w, g_heart.h, White);
        }

        ssd1306_FillRectangle_Buffered(77, 0, 128 - 77, 30, Black);
        ssd1306_SetCursor(77, 0);
        ssd1306_WriteString("HI", Font_7x10, White);
        Render_Number(93, 0, g_hi_scores[g_difficulty]);
        ssd1306_SetCursor(77, 11);
        ssd1306_WriteString("SC", Font_7x10, White);
        Render_Number(93, 11, g_score);
        Render_Heart(79, 22, g_lives);

        ssd1306_FillRectangle_Buffered(0, GROUND_Y, 128, 1, Black);
        Render_Ground(GROUND_Y);

    } else if (g_gameState == GAME_STATE_OVER) {
    	ssd1306_Fill(Black);

        ssd1306_SetCursor(30, 20);
        ssd1306_WriteString("GAME OVER", Font_7x10, White);
        ssd1306_SetCursor(30, 35);
        char score_str[15];
        sprintf(score_str, "Score: %d", g_score);
        ssd1306_WriteString(score_str, Font_7x10, White);

        ssd1306_SetCursor(26, 50);
        ssd1306_WriteString("Press RESET", Font_7x10, White);

        Save_Hi_Score();
        ssd1306_UpdateScreen();
    }
}

void ssd1306_DrawBitmap_Masked(int16_t x, int16_t y, const uint8_t *bitmap, const uint8_t *mask, uint8_t w, uint8_t h, SSD1306_COLOR color){
	uint16_t byteWidth = (w + 7) / 8;
    uint8_t byteB, byteM;

    for (uint8_t j = 0; j < h; j++) {
        for (uint8_t i = 0; i < w; i++) {

            int16_t pixel_x = x + i;
            int16_t pixel_y = y + j;
            if (pixel_x < 0 || pixel_x >= SSD1306_WIDTH || pixel_y < 0 || pixel_y >= SSD1306_HEIGHT) {
                if (i % 8 == 0) {
                     byteB = bitmap[j * byteWidth + i / 8];
                     byteM = mask[j * byteWidth + i / 8];
                } else {
                     byteB >>= 1;
                     byteM >>= 1;
                }
                continue;
            }

            if (i % 8 == 0) {
                byteB = bitmap[j * byteWidth + i / 8];
                byteM = mask[j * byteWidth + i / 8];
            } else {
                byteB <<= 1;
                byteM <<= 1;
            }

            if (byteM & 0x80) {
                if (byteB & 0x80)
                    ssd1306_DrawPixel(pixel_x, pixel_y, color);
                else
                    ssd1306_DrawPixel(pixel_x, pixel_y, Black);
            }
        }
    }
}
// Hàm Check_Collision
bool Check_Collision(int x1, int y1, int w1, int h1, int x2, int y2, int w2, int h2) {
    return (x1 < x2 + w2 && x1 + w1 > x2 && y1 < y2 + h2 && y1 + h1 > y2);
}

// Hàm Render_Ground
void Render_Ground(int y) {
    int start_x = g_ground_scroll % 128;
    ssd1306_Line_Buffered(start_x, y, 127, y, White);
    if (start_x > 0) {
        ssd1306_Line_Buffered(0, y, start_x - 1, y, White);
    }
    g_ground_scroll = (g_ground_scroll + g_scroll_speed) % 128;
}

// Hàm Render_Number
void Render_Number(int x, int y, int number) {
    char str[6];
    sprintf(str, "%05d", number);
    ssd1306_SetCursor(x, y);
    ssd1306_WriteString(str, Font_7x10, White);
}

// Hàm Render_Heart
void Render_Heart(int x, int y, int lives) {
    for (int i = 0; i < lives; i++) {
        ssd1306_DrawBitmap_Buffered(x + i * 10, y, heart_bitmap, 8, 8, White);
    }
}

// Hàm Save_Hi_Score
void Save_Hi_Score(void) {
    HAL_FLASH_Unlock();
    FLASH_EraseInitTypeDef EraseInitStruct;
    EraseInitStruct.TypeErase = FLASH_TYPEERASE_PAGES;
    EraseInitStruct.PageAddress = HI_SCORE_EASY_ADDR;
    EraseInitStruct.NbPages = 1;
    uint32_t PageError = 0;
    if (HAL_FLASHEx_Erase(&EraseInitStruct, &PageError) != HAL_OK)
    {
        Error_Handler();
    }
    HAL_FLASH_Program(FLASH_TYPEPROGRAMDATA_HALFWORD, HI_SCORE_EASY_ADDR, g_hi_scores[DIFFICULTY_EASY]);
    HAL_FLASH_Program(FLASH_TYPEPROGRAMDATA_HALFWORD, HI_SCORE_NORMAL_ADDR, g_hi_scores[DIFFICULTY_NORMAL]);
    HAL_FLASH_Program(FLASH_TYPEPROGRAMDATA_HALFWORD, HI_SCORE_HARD_ADDR, g_hi_scores[DIFFICULTY_HARD]);
    HAL_FLASH_Lock();
}

/* USER CODE END 4 */

void Error_Handler(void)
{
  __disable_irq();
  while (1)
  {
  }
}
